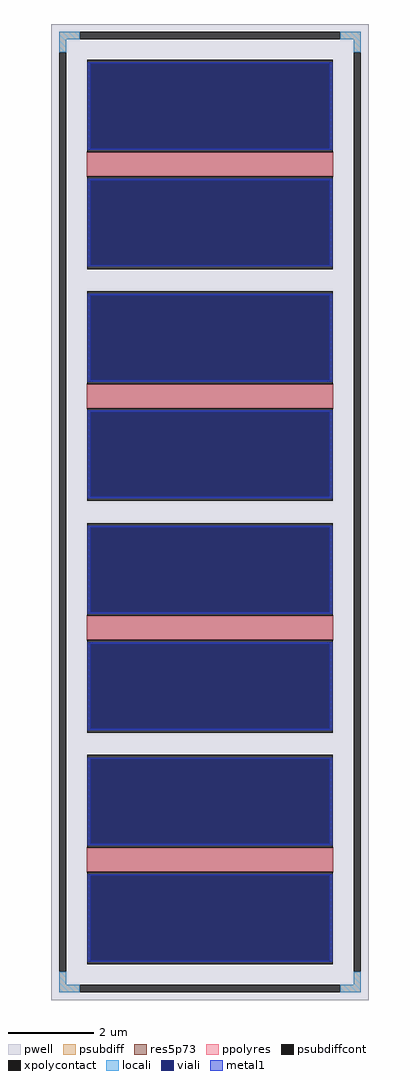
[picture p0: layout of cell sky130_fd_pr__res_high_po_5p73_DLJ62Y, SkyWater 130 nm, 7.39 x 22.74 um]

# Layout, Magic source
magic
tech sky130A
magscale 1 2
<< pwell >>
rect -739 -2274 739 2274
<< psubdiff >>
rect -703 2204 -607 2238
rect 607 2204 703 2238
rect -703 2142 -669 2204
rect 669 2142 703 2204
rect -703 -2204 -669 -2142
rect 669 -2204 703 -2142
rect -703 -2238 -607 -2204
rect 607 -2238 703 -2204
<< psubdiffcont >>
rect -607 2204 607 2238
rect -703 -2142 -669 2142
rect 669 -2142 703 2142
rect -607 -2238 607 -2204
<< xpolycontact >>
rect -573 1676 573 2108
rect -573 1132 573 1564
rect -573 596 573 1028
rect -573 52 573 484
rect -573 -484 573 -52
rect -573 -1028 573 -596
rect -573 -1564 573 -1132
rect -573 -2108 573 -1676
<< ppolyres >>
rect -573 1564 573 1676
rect -573 484 573 596
rect -573 -596 573 -484
rect -573 -1676 573 -1564
<< locali >>
rect -703 2204 -607 2238
rect 607 2204 703 2238
rect -703 2142 -669 2204
rect 669 2142 703 2204
rect -703 -2204 -669 -2142
rect 669 -2204 703 -2142
rect -703 -2238 -607 -2204
rect 607 -2238 703 -2204
<< viali >>
rect -557 1693 557 2090
rect -557 1150 557 1547
rect -557 613 557 1010
rect -557 70 557 467
rect -557 -467 557 -70
rect -557 -1010 557 -613
rect -557 -1547 557 -1150
rect -557 -2090 557 -1693
<< metal1 >>
rect -569 2090 569 2096
rect -569 1693 -557 2090
rect 557 1693 569 2090
rect -569 1687 569 1693
rect -569 1547 569 1553
rect -569 1150 -557 1547
rect 557 1150 569 1547
rect -569 1144 569 1150
rect -569 1010 569 1016
rect -569 613 -557 1010
rect 557 613 569 1010
rect -569 607 569 613
rect -569 467 569 473
rect -569 70 -557 467
rect 557 70 569 467
rect -569 64 569 70
rect -569 -70 569 -64
rect -569 -467 -557 -70
rect 557 -467 569 -70
rect -569 -473 569 -467
rect -569 -613 569 -607
rect -569 -1010 -557 -613
rect 557 -1010 569 -613
rect -569 -1016 569 -1010
rect -569 -1150 569 -1144
rect -569 -1547 -557 -1150
rect 557 -1547 569 -1150
rect -569 -1553 569 -1547
rect -569 -1693 569 -1687
rect -569 -2090 -557 -1693
rect 557 -2090 569 -1693
rect -569 -2096 569 -2090
<< res5p73 >>
rect -575 1562 575 1678
rect -575 482 575 598
rect -575 -598 575 -482
rect -575 -1678 575 -1562
<< properties >>
string gencell sky130_fd_pr__res_high_po_5p73
string FIXED_BBOX -686 -2221 686 2221
string parameters w 5.730 l 0.56 m 4 nx 1 wmin 5.730 lmin 0.50 rho 319.8 val 37.951 dummy 0 dw 0.0 term 19.188 sterm 0.0 caplen 0 guard 1 glc 1 grc 1 gtc 1 gbc 1 compatible {sky130_fd_pr__res_high_po_0p35  sky130_fd_pr__res_high_po_0p69 sky130_fd_pr__res_high_po_1p41  sky130_fd_pr__res_high_po_2p85 sky130_fd_pr__res_high_po_5p73} full_metal 1 wmax 5.730 n_guard 0 hv_guard 0 vias 1 viagb 0 viagt 0 viagl 0 viagr 0
string library sky130
<< end >>
